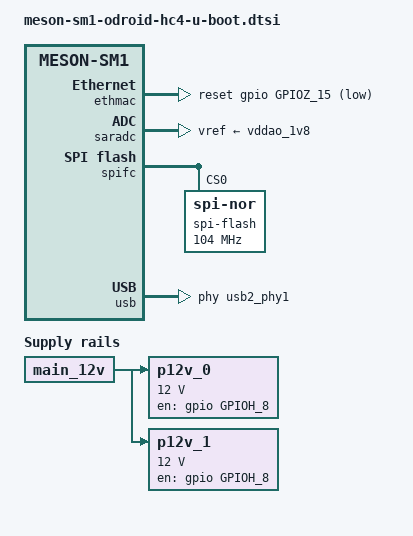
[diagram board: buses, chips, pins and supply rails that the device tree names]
// SPDX-License-Identifier: (GPL-2.0+ OR MIT)
/*
 * Copyright (c) 2020 BayLibre, SAS
 * Author: Neil Armstrong <narmstrong@baylibre.com>
 */

#include "meson-sm1-u-boot.dtsi"

/ {
	/* Powers the SATA Disk 0 regulator, which is enabled when a disk load is detected */
	p12v_0: regulator-p12v_0 {
		compatible = "regulator-fixed";
		regulator-name = "P12V_0";
		regulator-min-microvolt = <12000000>;
		regulator-max-microvolt = <12000000>;
		vin-supply = <&main_12v>;

		gpio = <&gpio GPIOH_8 GPIO_OPEN_DRAIN>;
		enable-active-high;
		regulator-always-on;
	};

	/* Powers the SATA Disk 1 regulator, which is enabled when a disk load is detected */
	p12v_1: regulator-p12v_1 {
		compatible = "regulator-fixed";
		regulator-name = "P12V_1";
		regulator-min-microvolt = <12000000>;
		regulator-max-microvolt = <12000000>;
		vin-supply = <&main_12v>;

		gpio = <&gpio GPIOH_8 GPIO_OPEN_DRAIN>;
		enable-active-high;
		regulator-always-on;
	};
};

&ethmac {
	snps,reset-gpio = <&gpio GPIOZ_15 (GPIO_ACTIVE_LOW | GPIO_OPEN_DRAIN)>;
	snps,reset-delays-us = <0 10000 1000000>;
	snps,reset-active-low;
};

/* SARADC is needed for proper board variant detection */
&saradc {
	status = "okay";
	vref-supply = <&vddao_1v8>;
};

&spifc {
	status = "okay";
	pinctrl-0 = <&nor_pins>;
	pinctrl-names = "default";

	spi-flash@0 {
		#address-cells = <1>;
		#size-cells = <1>;
		compatible = "jedec,spi-nor";
		reg = <0>;
		spi-max-frequency = <104000000>;
	};
};

&tflash_vdd {
	gpio = <&gpio_ao GPIOAO_3 GPIO_OPEN_DRAIN>;
};

&tf_io {
	vin-supply = <&vcc_5v>;
	enable-gpio = <&gpio GPIOE_2 GPIO_ACTIVE_HIGH>;
	enable-active-high;
	regulator-always-on;
	gpios = <&gpio_ao GPIOAO_6 GPIO_OPEN_SOURCE>;
};

&usb {
	phys = <&usb2_phy1>;
	phy-names = "usb2-phy1";
};

&usb2_phy0 {
	status = "disabled";
};

&vcc_5v {
	gpio = <&gpio GPIOH_8 GPIO_OPEN_DRAIN>;
	enable-active-high;
};
